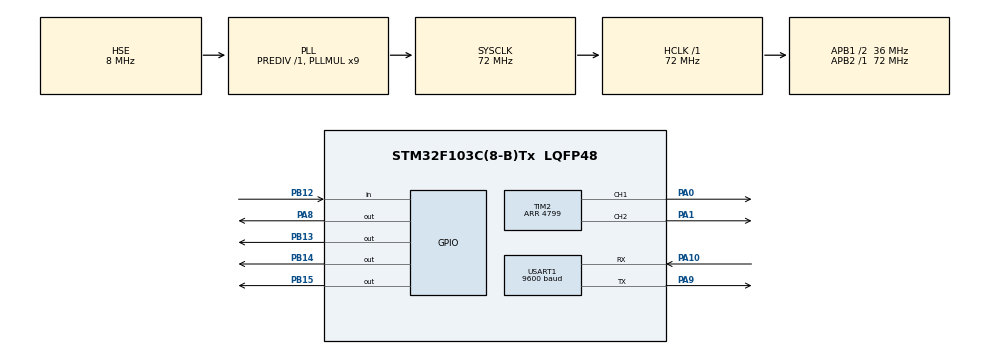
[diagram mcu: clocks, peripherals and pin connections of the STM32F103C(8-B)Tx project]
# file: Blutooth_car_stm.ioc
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Mcu.Family=STM32F1
Mcu.Name=STM32F103C(8-B)Tx
Mcu.Package=LQFP48
NVIC.PriorityGroup=NVIC_PRIORITYGROUP_4
NVIC.USART1_IRQn=true\:0\:0\:false\:false\:true\:true\:true\:true
PA0-WKUP.Signal=S_TIM2_CH1_ETR
PA1.Signal=S_TIM2_CH2
PA10.Mode=Asynchronous
PA10.Signal=USART1_RX
PA13.Mode=Serial_Wire
PA13.Signal=SYS_JTMS-SWDIO
PA14.Mode=Serial_Wire
PA14.Signal=SYS_JTCK-SWCLK
PA8.Signal=GPIO_Output
PA9.Mode=Asynchronous
PA9.Signal=USART1_TX
PB12.Signal=GPIO_Input
PB13.Signal=GPIO_Output
PB14.Signal=GPIO_Output
PB15.Signal=GPIO_Output
PD0-OSC_IN.Mode=HSE-External-Oscillator
PD0-OSC_IN.Signal=RCC_OSC_IN
PD1-OSC_OUT.Mode=HSE-External-Oscillator
PD1-OSC_OUT.Signal=RCC_OSC_OUT
ProjectManager.HeapSize=0x200
ProjectManager.StackSize=0x400
ProjectManager.TargetToolchain=MDK-ARM V5.32
RCC.AHBFreq_Value=72000000
RCC.APB1CLKDivider=RCC_HCLK_DIV2
RCC.APB1Freq_Value=36000000
RCC.APB1TimFreq_Value=72000000
RCC.APB2Freq_Value=72000000
RCC.APB2TimFreq_Value=72000000
RCC.HCLKFreq_Value=72000000
RCC.PLLMUL=RCC_PLL_MUL9
RCC.PLLSourceVirtual=RCC_PLLSOURCE_HSE
RCC.SYSCLKFreq_VALUE=72000000
RCC.SYSCLKSource=RCC_SYSCLKSOURCE_PLLCLK
RCC.USBFreq_Value=72000000
SH.S_TIM2_CH1_ETR.0=TIM2_CH1,PWM Generation1 CH1
SH.S_TIM2_CH2.0=TIM2_CH2,PWM Generation2 CH2
TIM2.Channel-PWM\ Generation1\ CH1=TIM_CHANNEL_1
TIM2.Channel-PWM\ Generation2\ CH2=TIM_CHANNEL_2
TIM2.Period=4799
USART1.BaudRate=9600
USART1.VirtualMode=VM_ASYNC
board=custom

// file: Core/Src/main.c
/* USER CODE BEGIN Header */
/**
  ******************************************************************************
  * @file           : main.c
  * @brief          : Main program body
  ******************************************************************************
  * @attention
  *
  * Copyright (c) 2026 STMicroelectronics.
  * All rights reserved.
  *
  * This software is licensed under terms that can be found in the LICENSE file
  * in the root directory of this software component.
  * If no LICENSE file comes with this software, it is provided AS-IS.
  *
  ******************************************************************************
  */
/* USER CODE END Header */
#include "main.h"

/* USER CODE BEGIN Includes */
#include "L298N_motor_config.h"

/* USER CODE END Includes */

TIM_HandleTypeDef htim2;
UART_HandleTypeDef huart1;

/* USER CODE BEGIN PV */
volatile uint8_t data_rx;
volatile uint8_t Receive_data;
uint16_t Velocity = 0;
/* USER CODE END PV */

void SystemClock_Config(void);
static void MX_GPIO_Init(void);
static void MX_TIM2_Init(void);
static void MX_USART1_UART_Init(void);

int main(void)
{

  /* MCU Configuration--------------------------------------------------------*/

  /* Reset of all peripherals, Initializes the Flash interface and the Systick. */
  HAL_Init();

  /* Configure the system clock */
  SystemClock_Config();

  /* Initialize all configured peripherals */
  MX_GPIO_Init();
  MX_TIM2_Init();
  MX_USART1_UART_Init();
  /* USER CODE BEGIN 2 */
	Init();
	HAL_UART_Receive_IT(&huart1, (uint8_t*)&data_rx, 1);

  /* USER CODE END 2 */

  /* Infinite loop */
  /* USER CODE BEGIN WHILE */
  while (1)
  {
		if(Receive_data == 1){
			switch(data_rx){
				case 'W':
					Car_control(Car_forward);
					break;
				case 'A':
					Car_control(Car_left);
					break;
				case 'S':
					Car_control(Car_backward);
					break;
				case 'D':
					Car_control(Car_right);
					break;
				case 'R':
					Velocity = 4800;
					break;
				case 'E':
					Velocity = 3500;
					break;
				case 'Q':
					Velocity = 3000;
					break;
				default:
					Car_control(Car_stop);
					break;
			}
		HAL_UART_Receive_IT(&huart1, (uint8_t*)&data_rx, 1);
		Receive_data = 0;
		}

    /* USER CODE END WHILE */

  }
}

void SystemClock_Config(void)
{
  RCC_OscInitTypeDef RCC_OscInitStruct = {0};
  RCC_ClkInitTypeDef RCC_ClkInitStruct = {0};

  /** Initializes the RCC Oscillators according to the specified parameters
  * in the RCC_OscInitTypeDef structure.
  */
  RCC_OscInitStruct.OscillatorType = RCC_OSCILLATORTYPE_HSE;
  RCC_OscInitStruct.HSEState = RCC_HSE_ON;
  RCC_OscInitStruct.HSEPredivValue = RCC_HSE_PREDIV_DIV1;
  RCC_OscInitStruct.HSIState = RCC_HSI_ON;
  RCC_OscInitStruct.PLL.PLLState = RCC_PLL_ON;
  RCC_OscInitStruct.PLL.PLLSource = RCC_PLLSOURCE_HSE;
  RCC_OscInitStruct.PLL.PLLMUL = RCC_PLL_MUL9;
  if (HAL_RCC_OscConfig(&RCC_OscInitStruct) != HAL_OK)
  {
    Error_Handler();
  }

  /** Initializes the CPU, AHB and APB buses clocks
  */
  RCC_ClkInitStruct.ClockType = RCC_CLOCKTYPE_HCLK|RCC_CLOCKTYPE_SYSCLK
                              |RCC_CLOCKTYPE_PCLK1|RCC_CLOCKTYPE_PCLK2;
  RCC_ClkInitStruct.SYSCLKSource = RCC_SYSCLKSOURCE_PLLCLK;
  RCC_ClkInitStruct.AHBCLKDivider = RCC_SYSCLK_DIV1;
  RCC_ClkInitStruct.APB1CLKDivider = RCC_HCLK_DIV2;
  RCC_ClkInitStruct.APB2CLKDivider = RCC_HCLK_DIV1;

  if (HAL_RCC_ClockConfig(&RCC_ClkInitStruct, FLASH_LATENCY_2) != HAL_OK)
  {
    Error_Handler();
  }
}

static void MX_TIM2_Init(void)
{

  TIM_MasterConfigTypeDef sMasterConfig = {0};
  TIM_OC_InitTypeDef sConfigOC = {0};

  htim2.Instance = TIM2;
  htim2.Init.Prescaler = 0;
  htim2.Init.CounterMode = TIM_COUNTERMODE_UP;
  htim2.Init.Period = 4799;
  htim2.Init.ClockDivision = TIM_CLOCKDIVISION_DIV1;
  htim2.Init.AutoReloadPreload = TIM_AUTORELOAD_PRELOAD_DISABLE;
  if (HAL_TIM_PWM_Init(&htim2) != HAL_OK)
  {
    Error_Handler();
  }
  sMasterConfig.MasterOutputTrigger = TIM_TRGO_RESET;
  sMasterConfig.MasterSlaveMode = TIM_MASTERSLAVEMODE_DISABLE;
  if (HAL_TIMEx_MasterConfigSynchronization(&htim2, &sMasterConfig) != HAL_OK)
  {
    Error_Handler();
  }
  sConfigOC.OCMode = TIM_OCMODE_PWM1;
  sConfigOC.Pulse = 0;
  sConfigOC.OCPolarity = TIM_OCPOLARITY_HIGH;
  sConfigOC.OCFastMode = TIM_OCFAST_DISABLE;
  if (HAL_TIM_PWM_ConfigChannel(&htim2, &sConfigOC, TIM_CHANNEL_1) != HAL_OK)
  {
    Error_Handler();
  }
  if (HAL_TIM_PWM_ConfigChannel(&htim2, &sConfigOC, TIM_CHANNEL_2) != HAL_OK)
  {
    Error_Handler();
  }
  HAL_TIM_MspPostInit(&htim2);

}

static void MX_USART1_UART_Init(void)
{

  huart1.Instance = USART1;
  huart1.Init.BaudRate = 9600;
  huart1.Init.WordLength = UART_WORDLENGTH_8B;
  huart1.Init.StopBits = UART_STOPBITS_1;
  huart1.Init.Parity = UART_PARITY_NONE;
  huart1.Init.Mode = UART_MODE_TX_RX;
  huart1.Init.HwFlowCtl = UART_HWCONTROL_NONE;
  huart1.Init.OverSampling = UART_OVERSAMPLING_16;
  if (HAL_UART_Init(&huart1) != HAL_OK)
  {
    Error_Handler();
  }

}

static void MX_GPIO_Init(void)
{
  GPIO_InitTypeDef GPIO_InitStruct = {0};

  /* GPIO Ports Clock Enable */
  __HAL_RCC_GPIOD_CLK_ENABLE();
  __HAL_RCC_GPIOA_CLK_ENABLE();
  __HAL_RCC_GPIOB_CLK_ENABLE();

  /*Configure GPIO pin Output Level */
  HAL_GPIO_WritePin(GPIOB, GPIO_PIN_13|GPIO_PIN_14|GPIO_PIN_15, GPIO_PIN_RESET);

  /*Configure GPIO pin Output Level */
  HAL_GPIO_WritePin(GPIOA, GPIO_PIN_8, GPIO_PIN_RESET);

  /*Configure GPIO pin : PB12 */
  GPIO_InitStruct.Pin = GPIO_PIN_12;
  GPIO_InitStruct.Mode = GPIO_MODE_INPUT;
  GPIO_InitStruct.Pull = GPIO_NOPULL;
  HAL_GPIO_Init(GPIOB, &GPIO_InitStruct);

  /*Configure GPIO pins : PB13 PB14 PB15 */
  GPIO_InitStruct.Pin = GPIO_PIN_13|GPIO_PIN_14|GPIO_PIN_15;
  GPIO_InitStruct.Mode = GPIO_MODE_OUTPUT_PP;
  GPIO_InitStruct.Pull = GPIO_NOPULL;
  GPIO_InitStruct.Speed = GPIO_SPEED_FREQ_LOW;
  HAL_GPIO_Init(GPIOB, &GPIO_InitStruct);

  /*Configure GPIO pin : PA8 */
  GPIO_InitStruct.Pin = GPIO_PIN_8;
  GPIO_InitStruct.Mode = GPIO_MODE_OUTPUT_PP;
  GPIO_InitStruct.Pull = GPIO_NOPULL;
  GPIO_InitStruct.Speed = GPIO_SPEED_FREQ_LOW;
  HAL_GPIO_Init(GPIOA, &GPIO_InitStruct);

}

/* USER CODE BEGIN 4 */
void HAL_UART_RxCpltCallback(UART_HandleTypeDef *huart){
	if(huart->Instance == huart1.Instance){
		Receive_data = 1;
	}
}
/* USER CODE END 4 */

void Error_Handler(void)
{
  __disable_irq();
  while (1)
  {
  }
}
